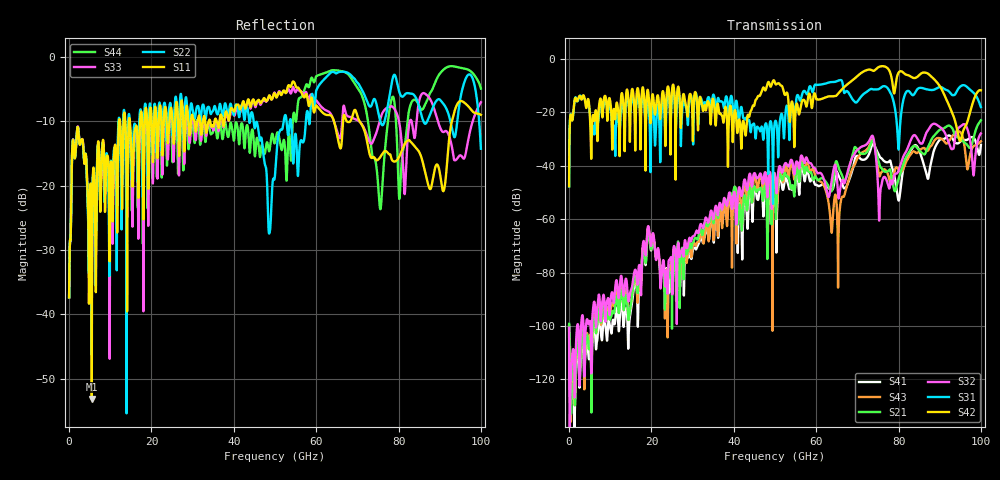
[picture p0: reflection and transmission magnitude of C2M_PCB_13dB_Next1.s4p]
! Info: Touchstone file created by Circ.  Input file=Intel_C2M_200G_2in_202204012_staggered.circ
# Hz S RI R 50
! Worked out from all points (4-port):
!   10000 points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, 10 MHz to 100 GHz, reference 50 ohm
!   strongest paths, dB at 10 MHz, 25.01 GHz, 50.01 GHz, 75.01 GHz, 100 GHz:
!     S42: -47.7, -11.6, -9.0, -3.2, -11.7
!     S31: -47.8, -14.0, -23.5, -11.4, -18.0
!     S32: -100.6, -81.2, -43.7, -47.3, -27.9
!     S21: -99.2, -97.1, -49.9, -37.5, -23.0
!     S43: -101.1, -77.7, -44.4, -41.1, -30.9
!     S41: -99.8, -82.6, -50.7, -35.3, -32.2
!   lowest |S11| = -53.1 dB at 5.52 GHz (marker M1), VSWR 1.00, Z = 49.9 - j0.193 ohm
!   |S11| at or under -10 dB: start of sweep to 12.13 GHz; 14.77 GHz to 17.24 GHz (2.471 GHz wide, 15.4 % of centre); 70.56 GHz to 92.95 GHz (22.39 GHz wide, 27.4 % of centre) (the widest 3 of 23)
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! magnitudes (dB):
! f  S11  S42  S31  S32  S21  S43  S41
! 10 MHz  -37.4  -47.7  -47.8  -100.6  -99.2  -101.1  -99.8
! 1.72 GHz  -13.5  -15.2  -14.8  -105.5  -111.9  -110.2  -114.1
! 5.52 GHz  -53.1  -27.6  -29.0  -102.2  -109.7  -108.9  -113.4
! 56.57 GHz  -5.7  -15.9  -13.3  -36.4  -39.0  -38.0  -40.8
! 76.13 GHz  -15.0  -2.7  -10.3  -45.2  -41.6  -41.9  -37.7
! 94.97 GHz  -6.8  -30.8  -10.4  -25.4  -29.9  -27.4  -31.0
! 100 GHz  -9.0  -11.7  -18.0  -27.9  -23.0  -30.9  -32.2
